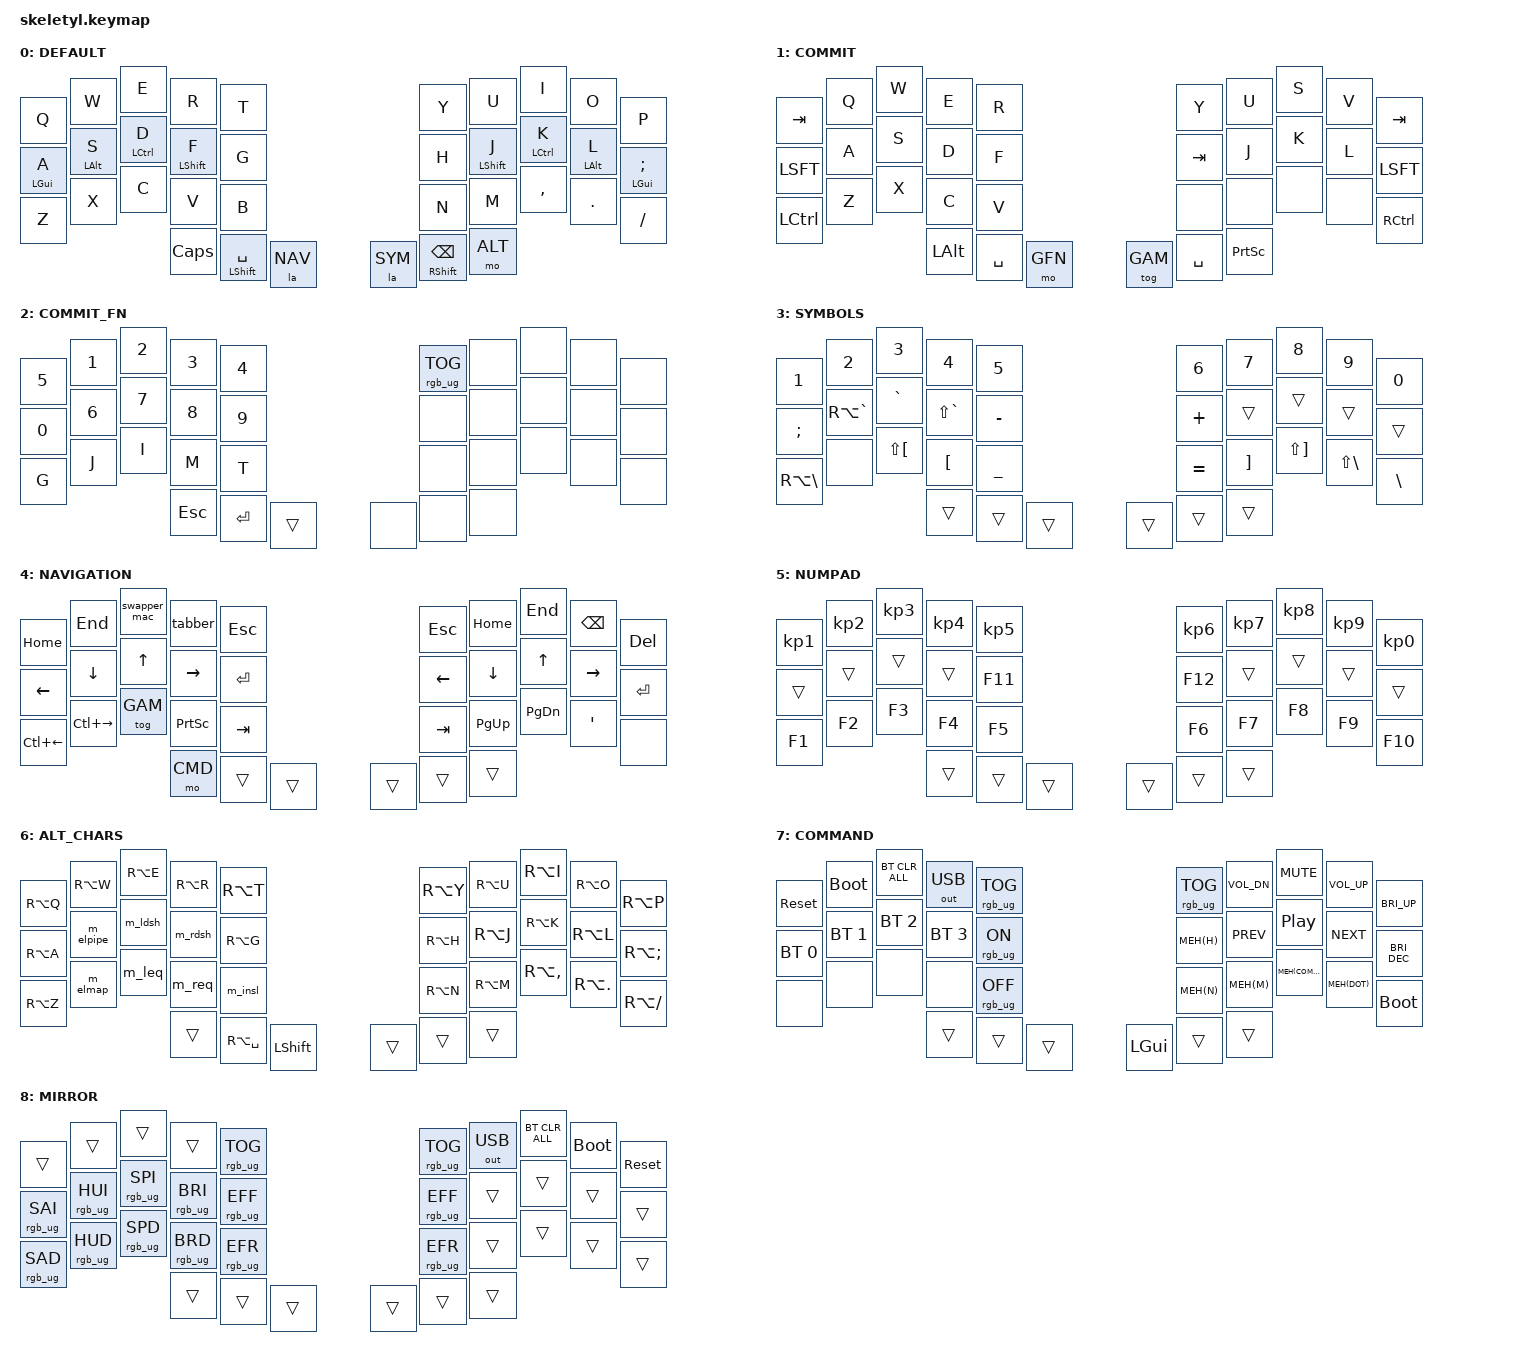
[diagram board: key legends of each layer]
#include <behaviors.dtsi>
#include <dt-bindings/zmk/outputs.h>
#include <dt-bindings/zmk/keys.h>
#include <dt-bindings/zmk/bt.h>
#include <dt-bindings/zmk/rgb.h>
#include <dt-bindings/zmk/ext_power.h>
#include "skeletyl_behaviors.dtsi"

#define _ &kp
#define ___ &none
#define ______ &trans

#define DEF 0
#define GAM 1
#define GFN 2
#define SYM 3
#define NAV 4
#define NUM 5
#define ALT 6
#define CMD 7
#define MIR 8

#define MEH(key) LS(LC(LA(key)))

#define SQT GRAVE
#define DQT LS(GRAVE)
#define GRV RA(GRAVE)
#define PIP LS(BSLH)
#define BSL RA(BSLH)
#define NBSP RA(SPACE)

#define NSPC LC(RIGHT)
#define PSPC LC(LEFT)

/ {
    conditional_layers {
        compatible = "zmk,conditional-layers";
        tri_layer {
            if-layers  = <NAV SYM>;
            then-layer = <NUM>;
        };
        mirror_layer {
            if-layers  = <SYM ALT>;
            then-layer = <MIR>;
        };
    };
};

/ {
    keymap {
        compatible = "zmk,keymap";

        def_layer {
            display-name = "DEFAULT";
            bindings = <
_ Q          _ W          _ E          _ R         _ T             _ Y          _ U          _ I          _ O          _ P
&hml LGUI A  &hml LALT S  &hml LCTRL D &hml LSHFT F _ G             _ H          &hmr LSHFT J &hmr LCTRL K &hmr LALT L  &hmr LGUI SEMI
_ Z          _ X          _ C          _ V         _ B             _ N          _ M          _ COMMA      _ DOT        _ FSLH
                          _ CAPS       &mt LSHFT SPACE &la NAV     &la SYM      &mt RSHFT BSPC  &mo ALT
            >;
        };

        gam_layer {
            display-name = "COMMIT";
            bindings = <
_ TAB        _ Q          _ W          _ E         _ R             _ Y          _ U          _ S          _ V          _ TAB
_ LSFT       _ A          _ S          _ D         _ F             _ TAB        _ J          _ K          _ L          _ LSFT
_ LCTRL      _ Z          _ X          _ C         _ V             ___          ___          ___          ___          _ RCTRL
                          _ LALT       _ SPACE     &mo GFN         &tog GAM     _ SPACE      _ PSCRN
            >;
        };

        gfn_layer {
            display-name = "COMMIT_FN";
            bindings = <
_ N5         _ N1         _ N2         _ N3        _ N4            &rgb_ug RGB_TOG ___          ___          ___          ___
_ N0         _ N6         _ N7         _ N8        _ N9            ___             ___          ___          ___          ___
_ G          _ J          _ I          _ M         _ T             ___             ___          ___          ___          ___
                          _ ESC        _ RET       ______          ___             ___          ___
            >;
        };

        sym_layer {
            display-name = "SYMBOLS";
            bindings = <
_ N1         _ N2         _ N3         _ N4        _ N5            _ N6         _ N7         _ N8         _ N9         _ N0
_ SEMI       _ GRV        _ SQT        _ DQT       _ MINUS         _ PLUS       ______       ______       ______       ______
_ BSL        ___          _ LS(LBKT)   _ LBKT      _ UNDER         _ EQUAL      _ RBKT       _ LS(RBKT)   _ PIP        _ BSLH
                          ______       ______      ______          ______       ______       ______
            >;
        };

        nav_layer {
            display-name = "NAVIGATION";
            bindings = <
_ HOME       _ END        &swapper_mac &tabber     _ ESC           _ ESC        _ HOME       _ END        _ BSPC       _ DEL
_ LEFT       _ DOWN       _ UP         _ RIGHT     _ RET           _ LEFT       _ DOWN       _ UP         _ RIGHT      _ RET
_ PSPC       _ NSPC       &tog GAM     _ PSCRN     _ TAB           _ TAB        _ PG_UP      _ PG_DN      _ APOS       ___
                          &mo CMD      ______      ______          ______       ______       ______
            >;
        };

        num_layer {
            display-name = "NUMPAD";
            bindings = <
_ KP_N1      _ KP_N2      _ KP_N3      _ KP_N4     _ KP_N5         _ KP_N6      _ KP_N7      _ KP_N8      _ KP_N9      _ KP_N0
______       ______       ______       ______      _ F11           _ F12        ______       ______       ______       ______
_ F1         _ F2         _ F3         _ F4        _ F5            _ F6         _ F7         _ F8         _ F9         _ F10
                          ______       ______      ______          ______       ______       ______
            >;
        };

        alt_layer {
            display-name = "ALT_CHARS";
            bindings = <
_ RA(Q)      _ RA(W)      _ RA(E)      _ RA(R)     _ RA(T)         _ RA(Y)      _ RA(U)      _ RA(I)      _ RA(O)      _ RA(P)
_ RA(A)      &m_elpipe    &m_ldsh      &m_rdsh     _ RA(G)         _ RA(H)      _ RA(J)      _ RA(K)      _ RA(L)      _ RA(SEMI)
_ RA(Z)      &m_elmap     &m_leq       &m_req      &m_insl         _ RA(N)      _ RA(M)      _ RA(COMMA)  _ RA(DOT)    _ RA(FSLH)
                          ______       _ NBSP      _ LSHFT         ______       ______       ______
            >;
        };

        cmd_layer {
            display-name = "COMMAND";
            bindings = <
&sys_reset   &bootloader  &bt BT_CLR_ALL &out OUT_USB &rgb_ug RGB_TOG &rgb_ug RGB_TOG _ C_VOL_DN   _ C_MUTE     _ C_VOL_UP   _ C_BRI_UP
&bt BT_SEL 0 &bt BT_SEL 1 &bt BT_SEL 2   &bt BT_SEL 3 &rgb_ug RGB_ON  _ MEH(H)     _ C_PREV     _ C_PP       _ C_NEXT     _ C_BRI_DEC
___          ___          ___            ___          &rgb_ug RGB_OFF _ MEH(N)     _ MEH(M)     _ MEH(COMMA) _ MEH(DOT)   &bootloader
                          ______       ______      ______          _ LGUI       ______       ______
            >;
        };

        mir_layer {
            display-name = "MIRROR";
            bindings = <
______       ______       ______       ______      &rgb_ug RGB_TOG &rgb_ug RGB_TOG &out OUT_USB  &bt BT_CLR_ALL &bootloader &sys_reset
&rgb_ug RGB_SAI &rgb_ug RGB_HUI &rgb_ug RGB_SPI &rgb_ug RGB_BRI &rgb_ug RGB_EFF &rgb_ug RGB_EFF ______       ______         ______      ______
&rgb_ug RGB_SAD &rgb_ug RGB_HUD &rgb_ug RGB_SPD &rgb_ug RGB_BRD &rgb_ug RGB_EFR &rgb_ug RGB_EFR ______       ______         ______      ______
                          ______       ______      ______          ______       ______       ______
            >;
        };
    };
};
